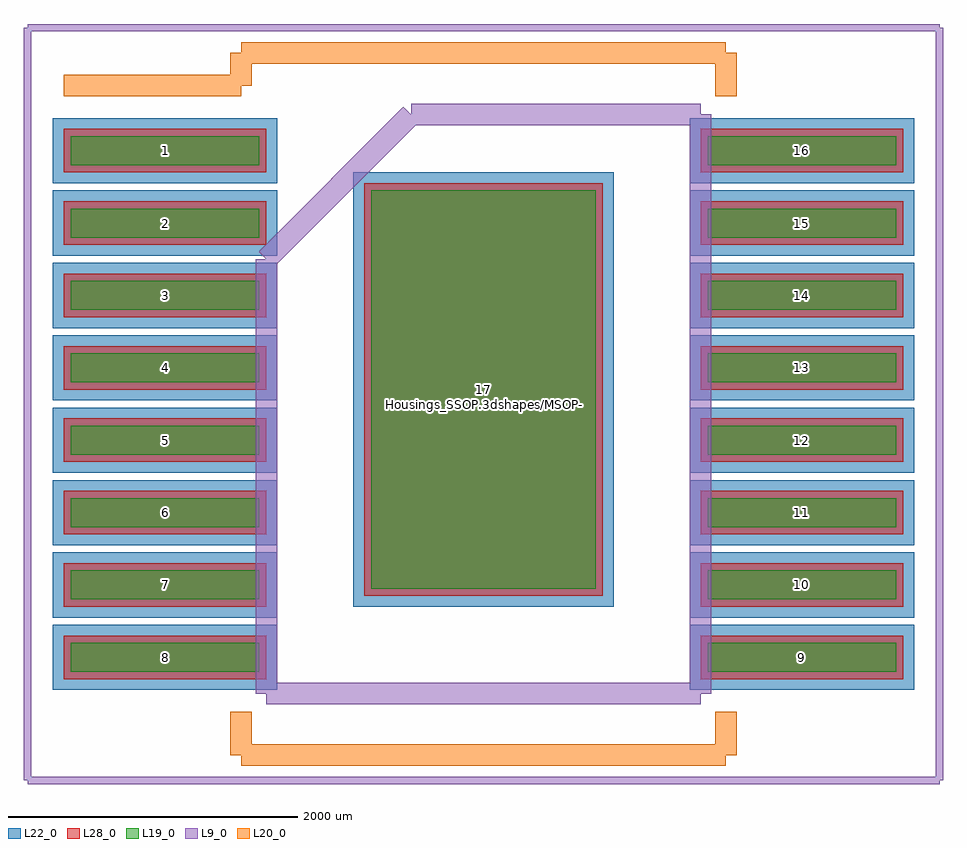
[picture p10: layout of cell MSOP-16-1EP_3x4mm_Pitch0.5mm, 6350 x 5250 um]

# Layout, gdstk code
import gdstk
lib = gdstk.Library(unit=1e-6, precision=1e-09)
def R(c, l, rs):  # rectangles x0, y0, x1, y1
    for r in rs: c.add(gdstk.rectangle(r[:2], r[2:], *l))
def A(c, l, x, y, w, h, nx, ny, dx, dy):  # array of equal rectangles
    R(c, l, [(x+i*dx, y+j*dy, x+i*dx+w, y+j*dy+h) for i in range(nx) for j in range(ny)])
L9_0 = (9, 0)
L19_0 = (19, 0)
L20_0 = (20, 0)
L22_0 = (22, 0)
L28_0 = (28, 0)

msop_16_1ep_3x4mm_pitch0 = lib.new_cell('MSOP-16-1EP_3x4mm_Pitch0.5mm')
A(msop_16_1ep_3x4mm_pitch0, L19_0, -2850, -1850, 1300, 200, 1, 8, 0, 500)
A(msop_16_1ep_3x4mm_pitch0, L19_0, 1550, -1850, 1300, 200, 1, 8, 0, 500)
R(msop_16_1ep_3x4mm_pitch0, L19_0, [(-775,-1275,775,1475)])
A(msop_16_1ep_3x4mm_pitch0, L22_0, -2975, -1975, 1550, 450, 1, 8, 0, 500)
A(msop_16_1ep_3x4mm_pitch0, L22_0, 1425, -1975, 1550, 450, 1, 8, 0, 500)
R(msop_16_1ep_3x4mm_pitch0, L22_0, [(-900,-1400,900,1600)])
A(msop_16_1ep_3x4mm_pitch0, L28_0, -2900, -1900, 1400, 300, 1, 8, 0, 500)
A(msop_16_1ep_3x4mm_pitch0, L28_0, 1500, -1900, 1400, 300, 1, 8, 0, 500)
R(msop_16_1ep_3x4mm_pitch0, L28_0, [(-825,-1325,825,1525)])
msop_16_1ep_3x4mm_pitch0.add(gdstk.FlexPath([(-1675,2200),(-2900,2200)], 149.998, ends="flush", simple_path=True, layer=20, datatype=0))  # L20_0
msop_16_1ep_3x4mm_pitch0.add(gdstk.FlexPath([(-1675,-2425),(1675,-2425)], 149.998, ends="flush", simple_path=True, layer=20, datatype=0))  # L20_0
msop_16_1ep_3x4mm_pitch0.add(gdstk.FlexPath([(-1675,2425),(1675,2425)], 149.998, ends="flush", simple_path=True, layer=20, datatype=0))  # L20_0
msop_16_1ep_3x4mm_pitch0.add(gdstk.FlexPath([(-1675,-2425),(-1675,-2125)], 149.998, ends="flush", simple_path=True, layer=20, datatype=0))  # L20_0
msop_16_1ep_3x4mm_pitch0.add(gdstk.FlexPath([(1675,-2425),(1675,-2125)], 149.998, ends="flush", simple_path=True, layer=20, datatype=0))  # L20_0
msop_16_1ep_3x4mm_pitch0.add(gdstk.FlexPath([(1675,2425),(1675,2125)], 149.998, ends="flush", simple_path=True, layer=20, datatype=0))  # L20_0
msop_16_1ep_3x4mm_pitch0.add(gdstk.FlexPath([(-1675,2425),(-1675,2200)], 149.998, ends="flush", simple_path=True, layer=20, datatype=0))  # L20_0
msop_16_1ep_3x4mm_pitch0.add(gdstk.FlexPath([(-3150,-2600),(3150,-2600)], 50, ends="flush", simple_path=True, layer=9, datatype=0))  # L9_0
msop_16_1ep_3x4mm_pitch0.add(gdstk.FlexPath([(-3150,2600),(3150,2600)], 50, ends="flush", simple_path=True, layer=9, datatype=0))  # L9_0
msop_16_1ep_3x4mm_pitch0.add(gdstk.FlexPath([(3150,2600),(3150,-2600)], 50, ends="flush", simple_path=True, layer=9, datatype=0))  # L9_0
msop_16_1ep_3x4mm_pitch0.add(gdstk.FlexPath([(-3150,2600),(-3150,-2600)], 50, ends="flush", simple_path=True, layer=9, datatype=0))  # L9_0
msop_16_1ep_3x4mm_pitch0.add(gdstk.FlexPath([(-1500,1000),(-500,2000)], 149.998, ends="flush", simple_path=True, layer=9, datatype=0))  # L9_0
msop_16_1ep_3x4mm_pitch0.add(gdstk.FlexPath([(-1500,-2000),(-1500,1000)], 149.998, ends="flush", simple_path=True, layer=9, datatype=0))  # L9_0
msop_16_1ep_3x4mm_pitch0.add(gdstk.FlexPath([(1500,-2000),(-1500,-2000)], 149.998, ends="flush", simple_path=True, layer=9, datatype=0))  # L9_0
msop_16_1ep_3x4mm_pitch0.add(gdstk.FlexPath([(1500,2000),(1500,-2000)], 149.998, ends="flush", simple_path=True, layer=9, datatype=0))  # L9_0
msop_16_1ep_3x4mm_pitch0.add(gdstk.FlexPath([(-500,2000),(1500,2000)], 149.998, ends="flush", simple_path=True, layer=9, datatype=0))  # L9_0
msop_16_1ep_3x4mm_pitch0.add(gdstk.Label('Housings_SSOP.3dshapes/MSOP-16_3x4mm_Pitch0.5mm.wrl', (0,0), layer=12, texttype=0))
msop_16_1ep_3x4mm_pitch0.add(gdstk.Label('17', (0,100), layer=28, texttype=0))
msop_16_1ep_3x4mm_pitch0.add(gdstk.Label('9', (2200,-1750), layer=28, texttype=0))
msop_16_1ep_3x4mm_pitch0.add(gdstk.Label('10', (2200,-1250), layer=28, texttype=0))
msop_16_1ep_3x4mm_pitch0.add(gdstk.Label('11', (2200,-750), layer=28, texttype=0))
msop_16_1ep_3x4mm_pitch0.add(gdstk.Label('8', (-2200,-1750), layer=28, texttype=0))
msop_16_1ep_3x4mm_pitch0.add(gdstk.Label('7', (-2200,-1250), layer=28, texttype=0))
msop_16_1ep_3x4mm_pitch0.add(gdstk.Label('6', (-2200,-750), layer=28, texttype=0))
msop_16_1ep_3x4mm_pitch0.add(gdstk.Label('16', (2200,1750), layer=28, texttype=0))
msop_16_1ep_3x4mm_pitch0.add(gdstk.Label('15', (2200,1250), layer=28, texttype=0))
msop_16_1ep_3x4mm_pitch0.add(gdstk.Label('14', (2200,750), layer=28, texttype=0))
msop_16_1ep_3x4mm_pitch0.add(gdstk.Label('13', (2200,250), layer=28, texttype=0))
msop_16_1ep_3x4mm_pitch0.add(gdstk.Label('12', (2200,-250), layer=28, texttype=0))
msop_16_1ep_3x4mm_pitch0.add(gdstk.Label('5', (-2200,-250), layer=28, texttype=0))
msop_16_1ep_3x4mm_pitch0.add(gdstk.Label('4', (-2200,250), layer=28, texttype=0))
msop_16_1ep_3x4mm_pitch0.add(gdstk.Label('3', (-2200,750), layer=28, texttype=0))
msop_16_1ep_3x4mm_pitch0.add(gdstk.Label('2', (-2200,1250), layer=28, texttype=0))
msop_16_1ep_3x4mm_pitch0.add(gdstk.Label('1', (-2200,1750), layer=28, texttype=0))
msop_16_1ep_3x4mm_pitch0.add(gdstk.Label('type', (0,-3500), layer=9, texttype=0))
msop_16_1ep_3x4mm_pitch0.add(gdstk.Label('devicename', (0,3350), layer=9, texttype=0))

lib.write_gds('MSOP-16-1EP_3x4mm_Pitch0.5mm.gds')
